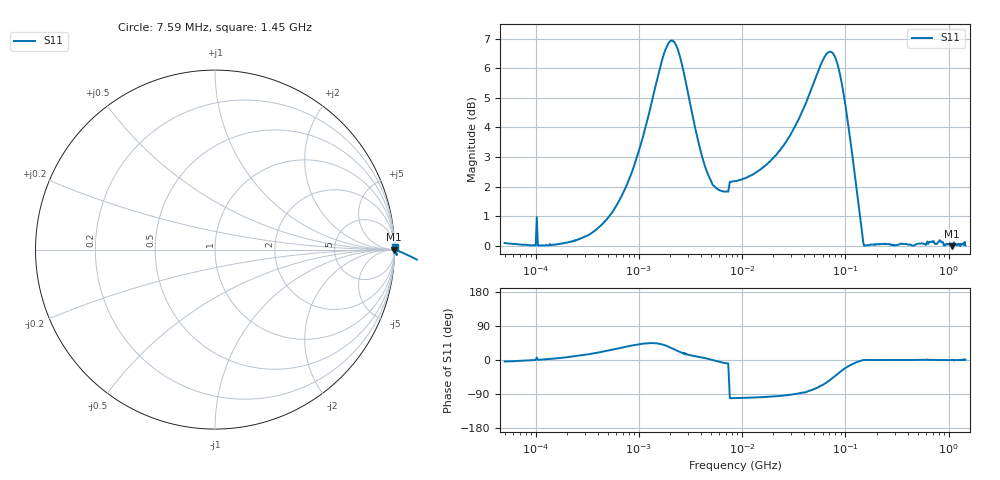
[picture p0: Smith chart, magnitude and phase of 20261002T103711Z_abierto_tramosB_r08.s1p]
! piloto_saltos / abierto_tramosB / r08
# HZ S RI R 50
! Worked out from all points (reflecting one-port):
!   501 points, 50 kHz to 1.45 GHz, reference 50 ohm
!   lowest |S11| = 0.0 dB at 1.082 GHz (marker M1), VSWR 975.16, Z = 4.55e+04 - j1.22e+04 ohm
!   phase of S11 starts at -4 deg and turns +5 deg over the sweep
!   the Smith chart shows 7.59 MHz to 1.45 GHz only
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50000  1.008 -0.0692
182500  1.003 0.1059
381000  1.008 0.3365
678000  1.023 0.6508
1164000  1.147 1.106
1623000  1.497 1.354
1947000  1.809 1.257
2379000  1.967 0.8619
2811000  1.839 0.4971
3000000  1.751 0.4356
4620000  1.322 0.0802
6780000  1.222 -0.1723
8130000  -0.2372 -1.262
8670000  -0.2345 -1.264
1.812e7  -0.1678 -1.374
3.27e7  0.00678 -1.595
4.62e7  0.3171 -1.803
5.7e7  0.7403 -1.873
6.51e7  1.055 -1.824
7.32e7  1.376 -1.62
8.67e7  1.652 -1.091
9.75e7  1.633 -0.6953
1.137e8  1.437 -0.312
1.326e8  1.186 -0.0872
1.542e8  1.001 3.9e-05
4.035e8  1.004 0.000703
1.082e9  0.998 -0.00055
1.45e9  1.001 0.0151
